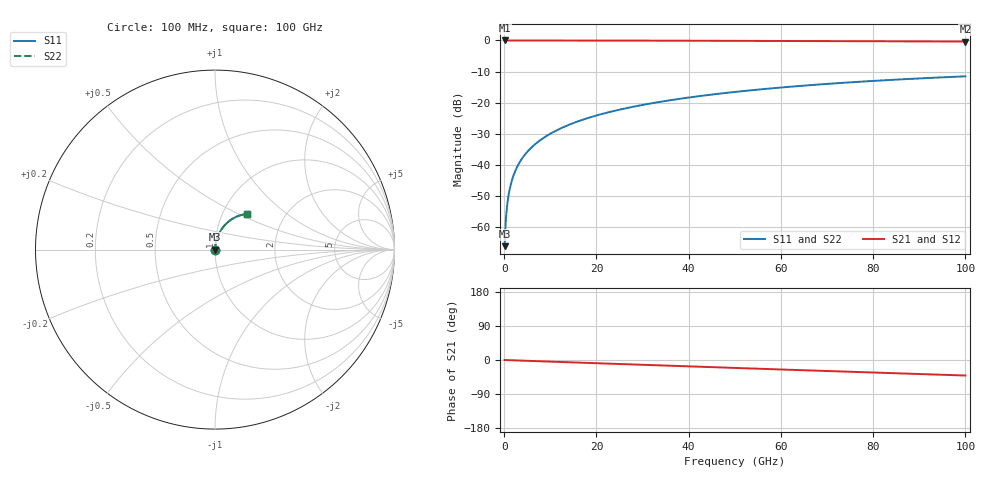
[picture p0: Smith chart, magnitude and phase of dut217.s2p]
! Touchstone file exported from HFSS 2026.1.0
!  File:  C:/ffzhzh/LocalFiles/Ansys_Project_Files/temp_train_TSV_217_1783507755_9504.aedt
!  Generated:  06:50:36 PM Jul  8, 2026
!  Design:  TSV
!  Project:  temp_train_TSV_217_1783507755_9504
! Variables:
!  h_bsmrdl = 2um
!  h_ox = 20um
!  h_rdl = 5um
!  h_sub = 75.57um
!  h_tmrdl = 5um
!  h_tsv = 75.57um
!  h_via = 3um
!  l_bsmrdl = 300um
!  l_sub = 410.48um
!  l_tmrdl = 200um
!  m_sub = 200um
!  pitch = 40.45um
!  r_tsv = 5.24um
!  s_tmrdl = 10um
!  w_bsmrdl = 18um
!  w_sub = 500um
!  w_tmrdl = 12um
!  x_tsv_center1 = 206um
!  x_tsv_center2 = 524um
!  x_tsv_center3 = 736um
!  x_tsv_center4 = 1054um
!  x_tsv_center5 = 1266um
!  x_tsv_center6 = 1584um
# GHz S MA R 50.000000
! Terminal data exported
! Port[1] = TSV1_1_T1
! Port[2] = TSV1_1_T2
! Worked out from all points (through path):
!   1000 points, 100 MHz to 100 GHz, reference 50 ohm
!   highest |S21| = 0.00 dB at 100 MHz (marker M1); lowest = -0.4 dB at 100 GHz (marker M2)
!   group delay of S21, straight-line fit = 1.14 ps
!   lowest |S11| = -66.1 dB at 100 MHz (marker M3), VSWR 1.00, Z = 50 + j0.0354 ohm
!   |S11| at or under -10 dB: start of sweep to end of sweep
!   |S22| runs from -66.1 to -11.5 dB; largest |S21 - S12| = 4e-15
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0.1  0.0004961 45.5  0.9997 -0.0  0.9997 -0.0  0.0004961 45.5
! Gamma 0 0 0 0
! Port Impedance 50 0 50 0
0.4  0.001418 74.3  0.9996 -0.2  0.9996 -0.2  0.001418 74.3
0.7  0.002404 80.0  0.9996 -0.3  0.9996 -0.3  0.002404 80.0
0.8  0.002736 81.0  0.9996 -0.4  0.9996 -0.4  0.002736 81.0
1.1  0.003731 82.7  0.9995 -0.5  0.9995 -0.5  0.003731 82.7
1.4  0.004723 83.5  0.9995 -0.6  0.9995 -0.6  0.004723 83.5
1.9  0.006364 84.2  0.9994 -0.8  0.9994 -0.8  0.006364 84.2
2.4  0.007987 84.4  0.9993 -1.0  0.9993 -1.0  0.007987 84.4
3  0.009911 84.5  0.9992 -1.3  0.9992 -1.3  0.009911 84.5
3.8  0.01245 84.5  0.9991 -1.6  0.9991 -1.6  0.01245 84.5
4.8  0.01559 84.4  0.9989 -2.1  0.9989 -2.1  0.01559 84.4
5.9  0.01902 84.2  0.9987 -2.5  0.9987 -2.5  0.01902 84.2
8.8  0.02802 83.6  0.9983 -3.8  0.9983 -3.8  0.02802 83.6
12.4  0.03912 82.4  0.9977 -5.3  0.9977 -5.3  0.03912 82.4
16.8  0.05257 80.9  0.9968 -7.1  0.9968 -7.1  0.05257 80.9
24.2  0.0749 78.1  0.995 -10.2  0.995 -10.2  0.0749 78.1
33.4  0.1021 74.5  0.9922 -14.1  0.9922 -14.1  0.1021 74.5
41.2  0.1244 71.4  0.9894 -17.3  0.9894 -17.3  0.1244 71.4
50.1  0.1491 67.8  0.9858 -21.0  0.9858 -21.0  0.1491 67.8
66.7  0.1923 61.2  0.9779 -27.8  0.9779 -27.8  0.1923 61.2
83.4  0.2314 54.7  0.9691 -34.4  0.9691 -34.4  0.2314 54.7
100  0.2653 48.3  0.9601 -40.9  0.9601 -40.9  0.2653 48.3
